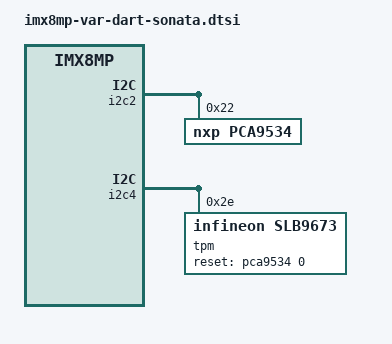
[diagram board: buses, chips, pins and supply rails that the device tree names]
// SPDX-License-Identifier: (GPL-2.0+ OR MIT)
/*
 * Copyright 2019 NXP
 * Copyright 2025 Variscite Ltd.
 */

&i2c2 {
	/* GPIO Expander 3 */
	pca9534: gpio@22 {
		compatible = "nxp,pca9534";
		reg = <0x22>;
		gpio-controller;
		#gpio-cells = <2>;

		/*
		 * ETH10G_SEL
		 * output-lo: Configure mux for DART-MX8MP DSI
		 * output-hi: Configure mux for 10G Ethernet (not supported by 8MP)
		 */
		eth10g_sel {
			gpio-hog;
			gpios = <5 GPIO_ACTIVE_HIGH>;
			output-low;
			line-name = "eth10g_sel";
		};

		/*
		 * PCIE2_SEL
		 * output-lo: Configure mux for DART-MX95 PCIE2
		 * output-hi: Configure mux for DART-MX8MP DSI
		 */
		pcie2_sel {
			gpio-hog;
			gpios = <6 GPIO_ACTIVE_HIGH>;
			output-high;
			line-name = "pcie2_sel";
		};

		/*
		 * RGB_SEL
		 * output-lo: Configure mux for DARTs LVDS
		 * output-hi: Configure mux for DART-MX91 RGB2LVDS
		 */
		rgb_sel {
			gpio-hog;
			gpios = <7 GPIO_ACTIVE_HIGH>;
			output-low;
			line-name = "rgb_sel";
		};
	};
};

&ethphy1 {
	reset-deassert-us = <100000>;
	mxl-8611x,led0_cfg = <(
		MXL8611X_LEDX_CFG_LINK_UP_RX_ACT_ON |
		MXL8611X_LEDX_CFG_LINK_UP_TX_ACT_ON |
		MXL8611X_LEDX_CFG_TRAFFIC_ACT_BLINK_IND
	)>;
	mxl-8611x,led1_cfg = <(
		MXL8611X_LEDX_CFG_LINK_UP_10MB_ON |
		MXL8611X_LEDX_CFG_LINK_UP_100MB_ON |
		MXL8611X_LEDX_CFG_LINK_UP_1GB_ON
	)>;
};

&i2c4 {
	/* TPM 2.0 */
	st33ktpm2xi2c: st33ktpm2xi2c@2e {
		compatible = "infineon,slb9673", "tcg,tpm-tis-i2c";
		reg = <0x2e>;
		label = "tpm";
		reset-gpios = <&pca9534 0 GPIO_ACTIVE_HIGH>;
	};
};
